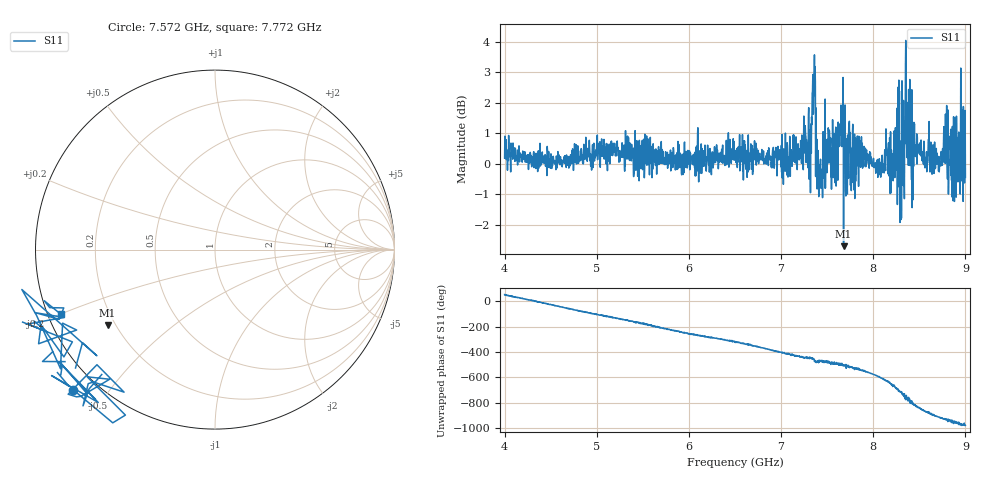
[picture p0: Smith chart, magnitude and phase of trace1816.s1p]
! Created with skrf 1.8.0 (http://scikit-rf.org).
# Hz S RI R 50.0
!freq ReS11 ImS11
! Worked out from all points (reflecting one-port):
!   1601 points, 4 GHz to 9 GHz, reference 50 ohm
!   lowest |S11| = -2.7 dB at 7.678 GHz (marker M1), VSWR 6.46, Z = 8.5 - j15.4 ohm
!   phase of S11 starts at 54 deg and turns -1033 deg over the sweep
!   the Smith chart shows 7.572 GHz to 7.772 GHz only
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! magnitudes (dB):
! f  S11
! 4 GHz  0.2
! 4.625 GHz  -0.1
! 5.25 GHz  0.1
! 5.875 GHz  0.4
! 6.5 GHz  0.3
! 7.125 GHz  0.3
! 7.303 GHz  0.5
! 7.347 GHz  2.9
! 7.362 GHz  3.6
! 7.4 GHz  0.4
! 7.428 GHz  0.1
! 7.503 GHz  0.2
! 7.591 GHz  1.0
! 7.65 GHz  1.9
! 7.678 GHz  -2.7
! 7.75 GHz  1.0
! 8.094 GHz  -0.2
! 8.209 GHz  -0.3
! 8.259 GHz  1.2
! 8.312 GHz  2.7
! 8.334 GHz  -0.1
! 8.375 GHz  1.5
! 8.447 GHz  1.3
! 8.725 GHz  0.1
! 8.788 GHz  0.0
! 8.841 GHz  1.1
! 8.959 GHz  1.8
! 9 GHz  -0.5
